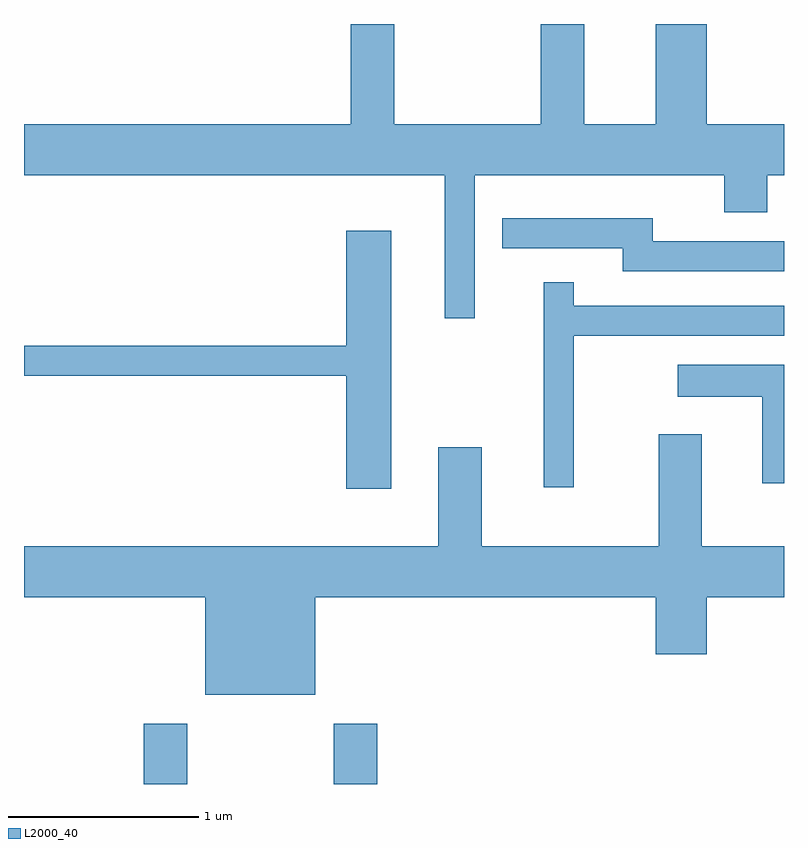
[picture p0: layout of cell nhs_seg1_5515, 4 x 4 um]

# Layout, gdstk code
import gdstk
lib = gdstk.Library(unit=1e-6, precision=1e-09)
def R(c, l, rs):  # rectangles x0, y0, x1, y1
    for r in rs: c.add(gdstk.rectangle(r[:2], r[2:], *l))
def P(c, l, *ps):  # polygons
    for p in ps: c.add(gdstk.Polygon(p, *l))
L2000_40 = (2000, 40)

nhs_seg1_5515 = lib.new_cell('nhs_seg1_5515')
R(nhs_seg1_5515, L2000_40, [(352.241,889.712,352.469,890.029), (353.241,889.712,353.469,890.029)])
P(nhs_seg1_5515, L2000_40, [(353.984,892.916),(355.296,892.916),(355.296,892.721),(355.524,892.721),(355.524,892.916),(355.611,892.916),(355.611,893.184),(355.204,893.184),(355.204,893.712),(354.936,893.712),(354.936,893.184),(354.559,893.184),(354.559,893.712),(354.331,893.712),(354.331,893.184),(353.559,893.184),(353.559,893.712),(353.331,893.712),(353.331,893.184),(351.611,893.184),(351.611,892.916),(353.826,892.916),(353.826,892.163),(353.984,892.163)],
  [(355.611,892.569),(354.919,892.569),(354.919,892.689),(354.128,892.689),(354.128,892.531),(354.761,892.531),(354.761,892.411),(355.611,892.411)],
  [(353.544,892.624),(353.306,892.624),(353.306,892.019),(351.611,892.019),(351.611,891.861),(353.306,891.861),(353.306,891.266),(353.544,891.266)],
  [(354.504,892.071),(355.611,892.071),(355.611,892.229),(354.504,892.229),(354.504,892.353),(354.346,892.353),(354.346,891.273),(354.504,891.273)],
  [(355.611,891.919),(355.053,891.919),(355.053,891.751),(355.496,891.751),(355.496,891.296),(355.611,891.296)],
  [(353.144,890.696),(354.936,890.696),(354.936,890.396),(355.204,890.396),(355.204,890.696),(355.611,890.696),(355.611,890.964),(355.179,890.964),(355.179,891.554),(354.951,891.554),(354.951,890.964),(354.019,890.964),(354.019,891.484),(353.791,891.484),(353.791,890.964),(351.611,890.964),(351.611,890.696),(352.566,890.696),(352.566,890.181),(353.144,890.181)])

lib.write_gds('nhs_seg1_5515.gds')
